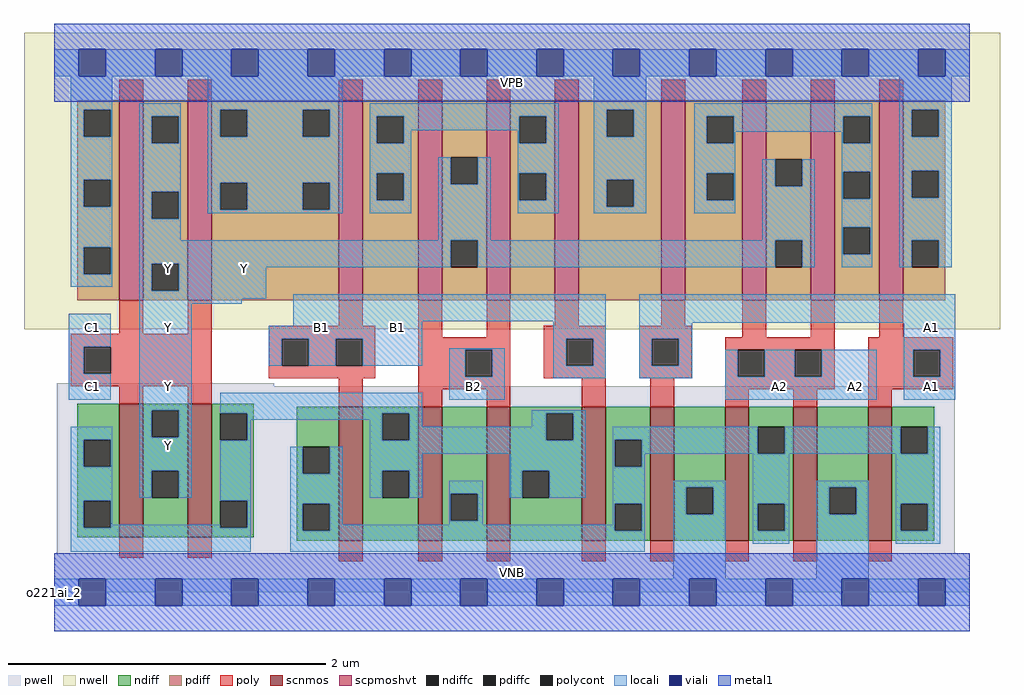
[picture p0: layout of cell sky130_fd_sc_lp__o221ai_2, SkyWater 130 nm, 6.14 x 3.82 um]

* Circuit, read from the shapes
.subckt sky130_fd_sc_lp__o221ai_2 A1 A2 B1 B2 C1 VGND VNB VPB VPWR Y
XM1 Y C1 n1 VNB sky130_fd_pr__nfet_01v8 w=0.84 l=0.15 m=2
XM2 n1 B1 n2 VNB sky130_fd_pr__nfet_01v8 w=0.84 l=0.15 m=2
XM3 n2 B2 n1 VNB sky130_fd_pr__nfet_01v8 w=0.84 l=0.15 m=2
XM4 VGND A1 n2 VNB sky130_fd_pr__nfet_01v8 w=0.84 l=0.15 m=2
XM5 n2 A2 VGND VNB sky130_fd_pr__nfet_01v8 w=0.84 l=0.15 m=2
XM6 Y C1 VPWR VPB sky130_fd_pr__pfet_01v8_hvt w=1.26 l=0.15 m=2
XM7 n3 B1 VPWR VPB sky130_fd_pr__pfet_01v8_hvt w=1.26 l=0.15 m=2
XM8 Y B2 n3 VPB sky130_fd_pr__pfet_01v8_hvt w=1.26 l=0.15 m=2
XM9 n4 A1 VPWR VPB sky130_fd_pr__pfet_01v8_hvt w=1.26 l=0.15 m=2
XM10 Y A2 n4 VPB sky130_fd_pr__pfet_01v8_hvt w=1.26 l=0.15 m=2
.ends

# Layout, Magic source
magic
tech sky130A
magscale 1 2
<< nwell >>
rect -38 331 1190 704
<< pwell >>
rect 3 259 277 263
rect 3 49 1133 259
rect 0 0 1152 49
<< scnmos >>
rect 82 69 112 237
rect 168 69 198 237
rect 358 65 388 233
rect 458 65 488 233
rect 544 65 574 233
rect 664 65 694 233
rect 750 65 780 233
rect 844 65 874 233
rect 930 65 960 233
rect 1024 65 1054 233
<< scpmoshvt >>
rect 82 367 112 619
rect 168 367 198 619
rect 358 367 388 619
rect 458 367 488 619
rect 544 367 574 619
rect 630 367 660 619
rect 764 367 794 619
rect 866 367 896 619
rect 952 367 982 619
rect 1038 367 1068 619
<< ndiff >>
rect 29 192 82 237
rect 29 158 37 192
rect 71 158 82 192
rect 29 115 82 158
rect 29 81 37 115
rect 71 81 82 115
rect 29 69 82 81
rect 112 229 168 237
rect 112 195 123 229
rect 157 195 168 229
rect 112 153 168 195
rect 112 119 123 153
rect 157 119 168 153
rect 112 69 168 119
rect 198 225 251 237
rect 198 191 209 225
rect 243 191 251 225
rect 198 115 251 191
rect 198 81 209 115
rect 243 81 251 115
rect 198 69 251 81
rect 305 183 358 233
rect 305 149 313 183
rect 347 149 358 183
rect 305 111 358 149
rect 305 77 313 111
rect 347 77 358 111
rect 305 65 358 77
rect 388 225 458 233
rect 388 191 413 225
rect 447 191 458 225
rect 388 153 458 191
rect 388 119 413 153
rect 447 119 458 153
rect 388 65 458 119
rect 488 124 544 233
rect 488 90 499 124
rect 533 90 544 124
rect 488 65 544 90
rect 574 225 664 233
rect 574 191 619 225
rect 653 191 664 225
rect 574 153 664 191
rect 574 119 589 153
rect 623 119 664 153
rect 574 65 664 119
rect 694 192 750 233
rect 694 158 705 192
rect 739 158 750 192
rect 694 111 750 158
rect 694 77 705 111
rect 739 77 750 111
rect 694 65 750 77
rect 780 132 844 233
rect 780 98 795 132
rect 829 98 844 132
rect 780 65 844 98
rect 874 208 930 233
rect 874 174 885 208
rect 919 174 930 208
rect 874 111 930 174
rect 874 77 885 111
rect 919 77 930 111
rect 874 65 930 77
rect 960 132 1024 233
rect 960 98 975 132
rect 1009 98 1024 132
rect 960 65 1024 98
rect 1054 208 1107 233
rect 1054 174 1065 208
rect 1099 174 1107 208
rect 1054 111 1107 174
rect 1054 77 1065 111
rect 1099 77 1107 111
rect 1054 65 1107 77
<< pdiff >>
rect 29 607 82 619
rect 29 573 37 607
rect 71 573 82 607
rect 29 519 82 573
rect 29 485 37 519
rect 71 485 82 519
rect 29 434 82 485
rect 29 400 37 434
rect 71 400 82 434
rect 29 367 82 400
rect 112 599 168 619
rect 112 565 123 599
rect 157 565 168 599
rect 112 504 168 565
rect 112 470 123 504
rect 157 470 168 504
rect 112 413 168 470
rect 112 379 123 413
rect 157 379 168 413
rect 112 367 168 379
rect 198 607 358 619
rect 198 573 209 607
rect 243 573 313 607
rect 347 573 358 607
rect 198 515 358 573
rect 198 481 209 515
rect 243 481 313 515
rect 347 481 358 515
rect 198 367 358 481
rect 388 599 458 619
rect 388 565 406 599
rect 440 565 458 599
rect 388 527 458 565
rect 388 493 406 527
rect 440 493 458 527
rect 388 367 458 493
rect 488 547 544 619
rect 488 513 499 547
rect 533 513 544 547
rect 488 443 544 513
rect 488 409 499 443
rect 533 409 544 443
rect 488 367 544 409
rect 574 599 630 619
rect 574 565 585 599
rect 619 565 630 599
rect 574 527 630 565
rect 574 493 585 527
rect 619 493 630 527
rect 574 367 630 493
rect 660 607 764 619
rect 660 573 695 607
rect 729 573 764 607
rect 660 519 764 573
rect 660 485 695 519
rect 729 485 764 519
rect 660 367 764 485
rect 794 599 866 619
rect 794 565 821 599
rect 855 565 866 599
rect 794 527 866 565
rect 794 493 821 527
rect 855 493 866 527
rect 794 367 866 493
rect 896 545 952 619
rect 896 511 907 545
rect 941 511 952 545
rect 896 443 952 511
rect 896 409 907 443
rect 941 409 952 443
rect 896 367 952 409
rect 982 599 1038 619
rect 982 565 993 599
rect 1027 565 1038 599
rect 982 529 1038 565
rect 982 495 993 529
rect 1027 495 1038 529
rect 982 459 1038 495
rect 982 425 993 459
rect 1027 425 1038 459
rect 982 367 1038 425
rect 1068 607 1121 619
rect 1068 573 1079 607
rect 1113 573 1121 607
rect 1068 530 1121 573
rect 1068 496 1079 530
rect 1113 496 1121 530
rect 1068 443 1121 496
rect 1068 409 1079 443
rect 1113 409 1121 443
rect 1068 367 1121 409
<< ndiffc >>
rect 37 158 71 192
rect 37 81 71 115
rect 123 195 157 229
rect 123 119 157 153
rect 209 191 243 225
rect 209 81 243 115
rect 313 149 347 183
rect 313 77 347 111
rect 413 191 447 225
rect 413 119 447 153
rect 499 90 533 124
rect 619 191 653 225
rect 589 119 623 153
rect 705 158 739 192
rect 705 77 739 111
rect 795 98 829 132
rect 885 174 919 208
rect 885 77 919 111
rect 975 98 1009 132
rect 1065 174 1099 208
rect 1065 77 1099 111
<< pdiffc >>
rect 37 573 71 607
rect 37 485 71 519
rect 37 400 71 434
rect 123 565 157 599
rect 123 470 157 504
rect 123 379 157 413
rect 209 573 243 607
rect 313 573 347 607
rect 209 481 243 515
rect 313 481 347 515
rect 406 565 440 599
rect 406 493 440 527
rect 499 513 533 547
rect 499 409 533 443
rect 585 565 619 599
rect 585 493 619 527
rect 695 573 729 607
rect 695 485 729 519
rect 821 565 855 599
rect 821 493 855 527
rect 907 511 941 545
rect 907 409 941 443
rect 993 565 1027 599
rect 993 495 1027 529
rect 993 425 1027 459
rect 1079 573 1113 607
rect 1079 496 1113 530
rect 1079 409 1113 443
<< poly >>
rect 82 619 112 645
rect 168 619 198 645
rect 358 619 388 645
rect 458 619 488 645
rect 544 619 574 645
rect 630 619 660 645
rect 764 619 794 645
rect 866 619 896 645
rect 952 619 982 645
rect 1038 619 1068 645
rect 82 325 112 367
rect 168 325 198 367
rect 358 335 388 367
rect 21 309 198 325
rect 21 275 37 309
rect 71 275 198 309
rect 21 259 198 275
rect 270 319 404 335
rect 270 285 286 319
rect 320 285 354 319
rect 388 285 404 319
rect 270 269 404 285
rect 458 321 488 367
rect 544 321 574 367
rect 630 335 660 367
rect 764 335 794 367
rect 458 305 574 321
rect 458 271 517 305
rect 551 271 574 305
rect 82 237 112 259
rect 168 237 198 259
rect 358 233 388 269
rect 458 255 574 271
rect 616 319 694 335
rect 616 285 644 319
rect 678 285 694 319
rect 616 269 694 285
rect 736 319 802 335
rect 866 321 896 367
rect 952 321 982 367
rect 1038 321 1068 367
rect 736 285 752 319
rect 786 285 802 319
rect 736 269 802 285
rect 844 305 982 321
rect 844 271 860 305
rect 894 271 932 305
rect 966 271 982 305
rect 458 233 488 255
rect 544 233 574 255
rect 664 233 694 269
rect 750 233 780 269
rect 844 255 982 271
rect 1024 305 1131 321
rect 1024 271 1081 305
rect 1115 271 1131 305
rect 1024 255 1131 271
rect 844 233 874 255
rect 930 233 960 255
rect 1024 233 1054 255
rect 82 43 112 69
rect 168 43 198 69
rect 358 39 388 65
rect 458 39 488 65
rect 544 39 574 65
rect 664 39 694 65
rect 750 39 780 65
rect 844 39 874 65
rect 930 39 960 65
rect 1024 39 1054 65
<< polycont >>
rect 37 275 71 309
rect 286 285 320 319
rect 354 285 388 319
rect 517 271 551 305
rect 644 285 678 319
rect 752 285 786 319
rect 860 271 894 305
rect 932 271 966 305
rect 1081 271 1115 305
<< locali >>
rect 0 649 31 683
rect 65 649 127 683
rect 161 649 223 683
rect 257 649 319 683
rect 353 649 415 683
rect 449 649 511 683
rect 545 649 607 683
rect 641 649 703 683
rect 737 649 799 683
rect 833 649 895 683
rect 929 649 991 683
rect 1025 649 1087 683
rect 1121 649 1152 683
rect 21 607 73 649
rect 21 573 37 607
rect 71 573 73 607
rect 21 519 73 573
rect 21 485 37 519
rect 71 485 73 519
rect 21 434 73 485
rect 21 400 37 434
rect 71 400 73 434
rect 21 384 73 400
rect 107 599 159 615
rect 107 565 123 599
rect 157 565 159 599
rect 107 504 159 565
rect 107 470 123 504
rect 157 470 159 504
rect 193 607 363 649
rect 193 573 209 607
rect 243 573 313 607
rect 347 573 363 607
rect 193 515 363 573
rect 193 481 209 515
rect 243 481 313 515
rect 347 481 363 515
rect 193 477 363 481
rect 397 599 635 615
rect 397 565 406 599
rect 440 581 585 599
rect 440 565 449 581
rect 397 527 449 565
rect 583 565 585 581
rect 619 565 635 599
rect 397 493 406 527
rect 440 493 449 527
rect 397 477 449 493
rect 483 513 499 547
rect 533 513 549 547
rect 107 443 159 470
rect 483 443 549 513
rect 583 527 635 565
rect 583 493 585 527
rect 619 493 635 527
rect 583 477 635 493
rect 679 607 745 649
rect 679 573 695 607
rect 729 573 745 607
rect 679 519 745 573
rect 679 485 695 519
rect 729 485 745 519
rect 679 477 745 485
rect 805 599 1029 615
rect 805 565 821 599
rect 855 579 993 599
rect 855 565 857 579
rect 805 527 857 565
rect 991 565 993 579
rect 1027 565 1029 599
rect 805 493 821 527
rect 855 493 857 527
rect 805 477 857 493
rect 891 511 907 545
rect 941 511 957 545
rect 891 443 957 511
rect 107 413 499 443
rect 107 379 123 413
rect 157 409 499 413
rect 533 409 907 443
rect 941 409 957 443
rect 991 529 1029 565
rect 991 495 993 529
rect 1027 495 1029 529
rect 991 459 1029 495
rect 991 425 993 459
rect 1027 425 1029 459
rect 991 409 1029 425
rect 1063 607 1129 649
rect 1063 573 1079 607
rect 1113 573 1129 607
rect 1063 530 1129 573
rect 1063 496 1079 530
rect 1113 496 1129 530
rect 1063 443 1129 496
rect 1063 409 1079 443
rect 1113 409 1129 443
rect 157 379 267 409
rect 107 369 267 379
rect 107 363 236 369
rect 18 309 71 350
rect 18 275 37 309
rect 18 242 71 275
rect 107 229 173 363
rect 301 341 694 375
rect 301 335 463 341
rect 270 319 463 335
rect 270 285 286 319
rect 320 285 354 319
rect 388 285 463 319
rect 628 319 694 341
rect 497 305 567 307
rect 497 271 517 305
rect 551 271 567 305
rect 21 192 73 208
rect 21 158 37 192
rect 71 158 73 192
rect 21 115 73 158
rect 107 195 123 229
rect 157 195 173 229
rect 107 153 173 195
rect 107 119 123 153
rect 157 119 173 153
rect 209 225 463 251
rect 497 242 567 271
rect 628 285 644 319
rect 678 285 694 319
rect 628 269 694 285
rect 736 339 1134 375
rect 736 319 803 339
rect 736 285 752 319
rect 786 285 803 319
rect 1069 305 1134 339
rect 736 269 803 285
rect 844 271 860 305
rect 894 271 932 305
rect 966 271 1035 305
rect 844 242 1035 271
rect 1069 271 1081 305
rect 1115 271 1134 305
rect 1069 242 1134 271
rect 243 217 413 225
rect 243 191 247 217
rect 21 81 37 115
rect 71 85 73 115
rect 209 115 247 191
rect 397 191 413 217
rect 447 208 463 225
rect 601 225 669 229
rect 601 208 619 225
rect 447 191 619 208
rect 653 191 669 225
rect 71 81 209 85
rect 243 81 247 115
rect 21 51 247 81
rect 297 149 313 183
rect 347 149 363 183
rect 297 111 363 149
rect 397 174 669 191
rect 397 153 463 174
rect 397 119 413 153
rect 447 119 463 153
rect 573 153 669 174
rect 497 124 539 140
rect 297 77 313 111
rect 347 85 363 111
rect 497 90 499 124
rect 533 90 539 124
rect 573 119 589 153
rect 623 119 669 153
rect 703 192 885 208
rect 703 158 705 192
rect 739 174 885 192
rect 919 174 1065 208
rect 1099 174 1115 208
rect 739 158 743 174
rect 497 85 539 90
rect 703 111 743 158
rect 703 85 705 111
rect 347 77 705 85
rect 739 77 743 111
rect 297 51 743 77
rect 779 132 845 140
rect 779 98 795 132
rect 829 98 845 132
rect 779 17 845 98
rect 879 111 925 174
rect 879 77 885 111
rect 919 77 925 111
rect 879 61 925 77
rect 959 132 1025 140
rect 959 98 975 132
rect 1009 98 1025 132
rect 959 17 1025 98
rect 1059 111 1115 174
rect 1059 77 1065 111
rect 1099 77 1115 111
rect 1059 61 1115 77
rect 0 -17 31 17
rect 65 -17 127 17
rect 161 -17 223 17
rect 257 -17 319 17
rect 353 -17 415 17
rect 449 -17 511 17
rect 545 -17 607 17
rect 641 -17 703 17
rect 737 -17 799 17
rect 833 -17 895 17
rect 929 -17 991 17
rect 1025 -17 1087 17
rect 1121 -17 1152 17
<< viali >>
rect 31 649 65 683
rect 127 649 161 683
rect 223 649 257 683
rect 319 649 353 683
rect 415 649 449 683
rect 511 649 545 683
rect 607 649 641 683
rect 703 649 737 683
rect 799 649 833 683
rect 895 649 929 683
rect 991 649 1025 683
rect 1087 649 1121 683
rect 31 -17 65 17
rect 127 -17 161 17
rect 223 -17 257 17
rect 319 -17 353 17
rect 415 -17 449 17
rect 511 -17 545 17
rect 607 -17 641 17
rect 703 -17 737 17
rect 799 -17 833 17
rect 895 -17 929 17
rect 991 -17 1025 17
rect 1087 -17 1121 17
<< metal1 >>
rect 0 683 1152 715
rect 0 649 31 683
rect 65 649 127 683
rect 161 649 223 683
rect 257 649 319 683
rect 353 649 415 683
rect 449 649 511 683
rect 545 649 607 683
rect 641 649 703 683
rect 737 649 799 683
rect 833 649 895 683
rect 929 649 991 683
rect 1025 649 1087 683
rect 1121 649 1152 683
rect 0 617 1152 649
rect 0 17 1152 49
rect 0 -17 31 17
rect 65 -17 127 17
rect 161 -17 223 17
rect 257 -17 319 17
rect 353 -17 415 17
rect 449 -17 511 17
rect 545 -17 607 17
rect 641 -17 703 17
rect 737 -17 799 17
rect 833 -17 895 17
rect 929 -17 991 17
rect 1025 -17 1087 17
rect 1121 -17 1152 17
rect 0 -49 1152 -17
<< labels >>
flabel pwell s 0 0 1152 49 0 FreeSans 200 0 0 0 VNB
port 7 nsew ground bidirectional
flabel nwell s 0 617 1152 666 0 FreeSans 200 0 0 0 VPB
port 8 nsew power bidirectional
rlabel comment s 0 0 0 0 4 o221ai_2
flabel metal1 s 0 617 1152 666 0 FreeSans 340 0 0 0 VPWR
port 9 nsew power bidirectional
flabel metal1 s 0 0 1152 49 0 FreeSans 340 0 0 0 VGND
port 6 nsew ground bidirectional
flabel locali s 895 242 929 276 0 FreeSans 340 0 0 0 A2
port 2 nsew signal input
flabel locali s 991 242 1025 276 0 FreeSans 340 0 0 0 A2
port 2 nsew signal input
flabel locali s 511 242 545 276 0 FreeSans 340 0 0 0 B2
port 4 nsew signal input
flabel locali s 31 242 65 276 0 FreeSans 340 0 0 0 C1
port 5 nsew signal input
flabel locali s 31 316 65 350 0 FreeSans 340 0 0 0 C1
port 5 nsew signal input
flabel locali s 1087 242 1121 276 0 FreeSans 340 0 0 0 A1
port 1 nsew signal input
flabel locali s 1087 316 1121 350 0 FreeSans 340 0 0 0 A1
port 1 nsew signal input
flabel locali s 319 316 353 350 0 FreeSans 340 0 0 0 B1
port 3 nsew signal input
flabel locali s 415 316 449 350 0 FreeSans 340 0 0 0 B1
port 3 nsew signal input
flabel locali s 127 168 161 202 0 FreeSans 340 0 0 0 Y
port 10 nsew signal output
flabel locali s 127 242 161 276 0 FreeSans 340 0 0 0 Y
port 10 nsew signal output
flabel locali s 127 316 161 350 0 FreeSans 340 0 0 0 Y
port 10 nsew signal output
flabel locali s 223 390 257 424 0 FreeSans 340 0 0 0 Y
port 10 nsew signal output
flabel locali s 127 390 161 424 0 FreeSans 340 0 0 0 Y
port 10 nsew signal output
<< properties >>
string LEFsite unit
string LEFclass CORE
string FIXED_BBOX 0 0 1152 666
string GDS_FILE $PDKPATH/libs.ref/sky130_fd_sc_lp/gds/sky130_fd_sc_lp.gds
string LEFsymmetry X Y R90
string GDS_END 5825700
string GDS_START 5814850
<< end >>
